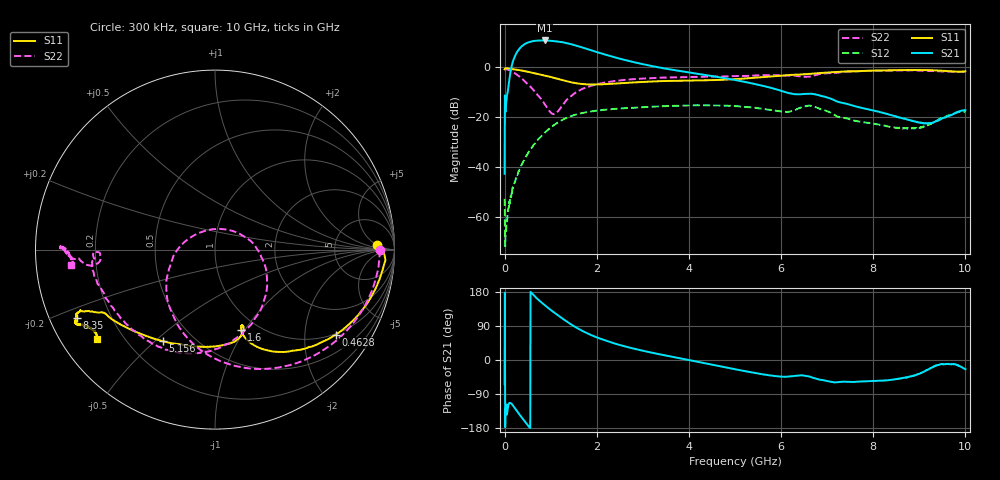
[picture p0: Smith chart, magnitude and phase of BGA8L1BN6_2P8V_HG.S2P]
!Agilent Technologies,E5071C,MY46316587,B.13.01
!Date: Tue Nov 28 12:31:59 2017
!Data & Calibration Information:
!Freq	S11:SOLT2(ON)	S21:SOLT2(ON)	S12:SOLT2(ON)	S22:SOLT2(ON)
!PortZ  Port1:50+j0  Port2:50+j0
!Above PortZ is port z conversion or system Z0 setting when saving the data.
!When reading, reference impedance value at option line is always used.
# Hz S RI R 50
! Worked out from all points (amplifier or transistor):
!   1601 points, 300 kHz to 10 GHz, reference 50 ohm
!   highest |S21| = 10.7 dB at 875.3 MHz (marker M1)
!   |S21| within 3 dB of that: 337.1 MHz to 1.719 GHz (1.382 GHz wide, 134 % of centre)
!   unconditionally stable (mu >= 1): start of sweep to end of sweep
!   at 1.663 GHz: K = 1.34, MAG = 9.8 dB, |S12| = -18.5 dB
!   at 5 GHz: K = 2.32, MAG = -1.2 dB, |S12| = -15.6 dB
!   at 10 GHz: K = 3.19, MAG = -7.6 dB, |S12| = -18.1 dB
!   lowest NFmin = 0.77 dB at 850 MHz
!   S11 on the Smith chart (normalised r, x): 300 kHz: 19, +5; 462.8 MHz: 0.97, -2.85; 1.6 GHz: 0.84, -0.96; 5.156 GHz: 0.34, -0.53; 8.35 GHz: 0.08, -0.23; 10 GHz: 0.11, -0.33
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300000  0.9045 0.0242  0.00323 -0.00652  -0.00133 -0.00186  0.9179 -0.00268
5.654831e7  0.944 -0.0762  -0.2125 -0.1861  4.04e-05 0.000822  0.8634 -0.255
1.502955e8  0.9019 -0.2021  -0.4387 -0.9233  -0.0011 0.00265  0.6183 -0.55
2.565423e8  0.8327 -0.3202  -1.29 -1.404  -0.00322 0.00519  0.2735 -0.6648
3.502895e8  0.7623 -0.4013  -2.13 -1.31  -0.00545 0.00825  0.0163 -0.6152
4.627861e8  0.6714 -0.4751  -2.906 -0.7179  -0.00904 0.0133  -0.1794 -0.4614
6.440307e8  0.5279 -0.5424  -3.296 0.6187  -0.0144 0.0248  -0.2706 -0.1934
8.752738e8  0.3693 -0.5706  -2.783 1.998  -0.018 0.0451  -0.1735 0.0391
1.044019e9  0.2729 -0.5568  -2.063 2.63  -0.0153 0.0642  -0.0356 0.1091
1.225263e9  0.1997 -0.5218  -1.196 2.954  -0.00509 0.0843  0.127 0.0931
1.600252e9  0.1453 -0.4452  0.3409 2.599  0.0329 0.1106  0.2896 -0.1615
1.669e9  0.1443 -0.4371  0.5217 2.453  0.0406 0.1124  0.2893 -0.2123
2.212734e9  0.1582 -0.4298  1.118 1.346  0.0892 0.109  0.1423 -0.4777
2.718968e9  0.1559 -0.463  1.108 0.7044  0.1205 0.0928  -0.0321 -0.5656
3.3377e9  0.1159 -0.508  0.9562 0.2682  0.1478 0.07  -0.2158 -0.5713
5.00015e9  -0.2376 -0.522  0.5024 -0.2278  0.1648 -0.0135  -0.5884 -0.2982
5.156395e9  -0.2884 -0.5107  0.4569 -0.2435  0.1591 -0.0207  -0.6137 -0.2593
6.66885e9  -0.6486 -0.3511  0.2028 -0.2101  0.1506 -0.0694  -0.6587 -0.0794
8.33755e9  -0.7714 -0.3808  0.0674 -0.0899  0.0594 -0.0244  -0.8535 0.0102
8.35005e9  -0.7713 -0.3826  0.0671 -0.0887  0.0595 -0.0236  -0.854 0.0114
9.193774e9  -0.765 -0.4173  0.0669 -0.0317  0.0672 0.0164  -0.8385 0.00916
1e10  -0.6561 -0.4986  0.1242 -0.0563  0.1231 -0.0202  -0.7997 -0.0865
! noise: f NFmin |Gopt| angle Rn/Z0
6.5e+08  0.8744  0.2919  57.45  0.2314
7.5e+08  0.791  0.4733  39.36  0.2023
8.5e+08  0.7745  0.4759  52.23  0.1724
9.5e+08  0.7939  0.4383  55.96  0.1758
5e+07  0.7981  0.4976  57.56  0.1783
1e+08  0.8028  0.4121  60.77  0.1709
